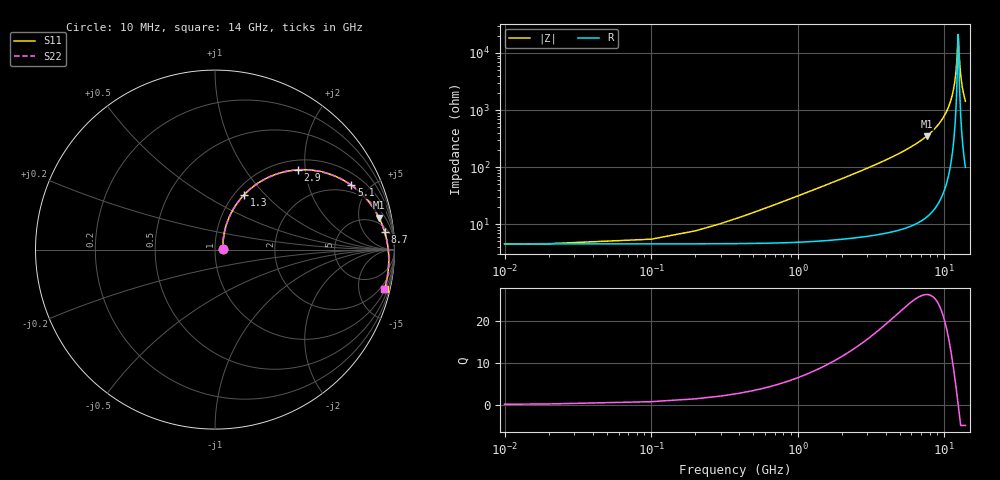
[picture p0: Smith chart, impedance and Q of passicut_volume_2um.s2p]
! Created with skrf 1.12.0 (http://scikit-rf.org).
# GHz S DB R 50.0
!freq dBS11 angS11 dBS21 angS21 dBS12 angS12 dBS22 angS22
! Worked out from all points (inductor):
!   142 points, 10 MHz to 14 GHz, reference 50 ohm
!   read as one part in series: L = 4.87 nH near 500 MHz
!   highest Q = 26.3 at 7.6 GHz (marker M1), where L = 7.27 nH
!   self-resonance near 12.5 GHz
!   S11 on the Smith chart (normalised r, x): 10 MHz: 1.09, +0.01; 1.3 GHz: 1.11, +0.77; 2.9 GHz: 1.21, +1.82; 5.1 GHz: 1.58, +3.85; 8.7 GHz: 7, +15; 14 GHz: 1.18, -8.59
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0.01  -27.29 3.5  -0.38 -0.2  -0.38 -0.2  -27.29 3.5
0.4  -18.59 62.7  -0.47 -7.1  -0.47 -7.1  -18.59 62.7
0.6  -15.39 66.1  -0.55 -10.5  -0.55 -10.5  -15.39 66.1
0.9  -12.09 65.6  -0.73 -15.5  -0.73 -15.5  -12.10 65.7
1.3  -9.20 62.0  -1.05 -21.8  -1.05 -21.8  -9.20 62.0
2.4  -4.94 49.3  -2.31 -37.0  -2.31 -37.0  -4.95 49.3
2.9  -3.87 43.9  -3.00 -42.8  -3.00 -42.8  -3.87 43.9
4.7  -1.77 28.1  -5.84 -59.5  -5.84 -59.5  -1.77 28.1
5.1  -1.51 25.3  -6.52 -62.4  -6.52 -62.4  -1.51 25.3
7.1  -0.73 13.5  -10.28 -74.4  -10.28 -74.4  -0.74 13.5
7.6  -0.62 11.0  -11.35 -76.9  -11.35 -76.9  -0.62 11.0
8.7  -0.44 6.1  -13.99 -81.7  -13.99 -81.7  -0.45 6.1
9.4  -0.37 3.2  -16.01 -84.4  -16.01 -84.4  -0.37 3.2
10.8  -0.28 -2.2  -21.65 -88.4  -21.65 -88.4  -0.28 -2.2
11.7  -0.25 -5.4  -28.37 -88.0  -28.37 -88.0  -0.25 -5.4
12.1  -0.25 -6.8  -34.28 -82.6  -34.28 -82.6  -0.25 -6.8
12.3  -0.24 -7.4  -39.62 -71.0  -39.62 -71.0  -0.25 -7.4
12.5  -0.24 -8.1  -46.76 -8.9  -46.76 -8.9  -0.25 -8.1
12.8  -0.25 -9.1  -36.81 62.6  -36.81 62.6  -0.25 -9.1
13  -0.25 -9.8  -32.69 69.1  -32.69 69.1  -0.25 -9.8
13.4  -0.25 -11.1  -27.76 72.7  -27.76 72.7  -0.26 -11.1
14  -0.27 -13.0  -23.47 73.2  -23.47 73.2  -0.27 -13.0
